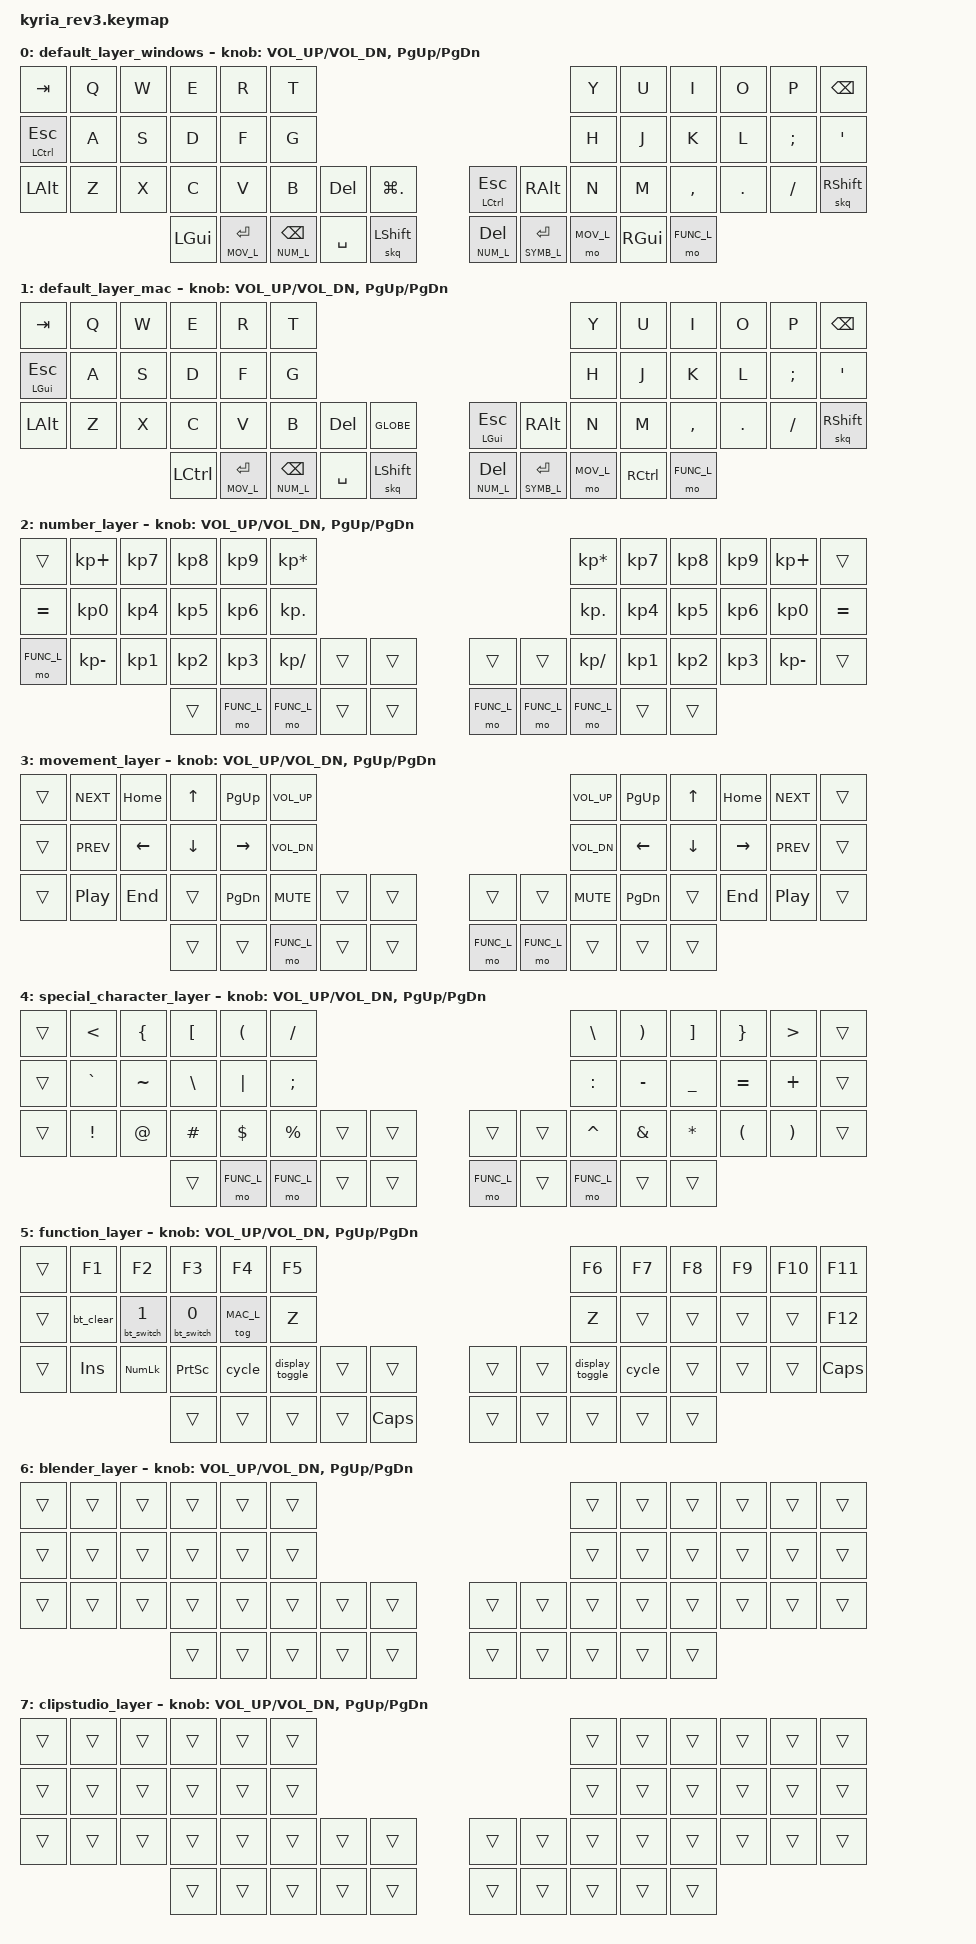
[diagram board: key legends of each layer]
/*
 * Copyright (c) 2023 The ZMK Contributors
 *
 * SPDX-License-Identifier: MIT
 */

#include <behaviors.dtsi>
#include <dt-bindings/zmk/bt.h>
#include <dt-bindings/zmk/keys.h>

/* Uncomment this block if using RGB
&led_strip {
    chain-length = <6>;
    // chain-length = <31>; // Uncomment if using both per-key and underglow LEDs
    // chain-length = <25>; // Uncomment if using only per-key LEDs.
};
 */

/* Layer indices — used by ZMK for &mo, &to, &tog bindings.
 *
 * To rename a layer on the OLED display:
 *   Edit LAYER_NAMES_LIST in display_module/src/display_config.h.
 *   The array index must match the number defined here.
 *   Max ~5 characters at the current font size before the label clips.
 *   NULL entries fall back to the raw number (e.g. "L:6").
 *   Push to GitHub — Actions rebuilds the firmware automatically.
 *
 * Runtime renaming from the keyboard is planned (see PLANNED.md).
 */
#define WINDOWS_L 0
#define MAC_L     1
#define NUM_L     2
#define MOV_L     3
#define SYMB_L    4
#define FUNC_L    5
#define BLNDR_L   6
#define CLPSTD_L  7

/ {
    behaviors {
        display_toggle: display_toggle {
            compatible = "zmk,behavior-display-toggle";
            #binding-cells = <0>;
        };

        cycle: cycle {
            compatible = "zmk,behavior-cycle";
            #binding-cells = <0>;
        };

        bt_switch: bt_switch {
            compatible = "zmk,behavior-bt-switch";
            #binding-cells = <1>;
            base-layers = <WINDOWS_L MAC_L>;
        };

        bt_clear: bt_clear {
            compatible = "zmk,behavior-bt-clear";
            #binding-cells = <0>;
        };

        skq: sticky_key_quick_release {
            compatible = "zmk,behavior-sticky-key";
            #binding-cells = <1>;
            bindings = <&kp>;
            release-after-ms = <1000>;
            quick-release;
            ignore-modifiers;
        };
    };

    keymap {
        compatible = "zmk,keymap";

        default_layer_windows {
            // ---------------------------------------------------------------------------------------------------------------------------------
            // |  TAB/NUM_L |  Q  |  W  |  E   |     R     |      T     |                                                         |   Y   |  U  |   I    |  O  |   P   |   BSPC    |
            // |  ESC/CTRL  |  A  |  S  |  D   |     F     |      G     |                                                         |   H   |  J  |   K    |  L  |  ; :  |    ' "    |
            // |     Alt    |  Z  |  X  |  C   |     V     |      B     |  DEL  |   WIN+.   |------------|  ESC/CTRL |    ALT     |   N   |  M  |   ,    |  .  |  / ?  |stickyShift|
            //                          |  OS  | Ret/MOV_L | BSPC/NUM_L | SPACE |stickySHIFT|------------| DEL/NUM_L | RET/SYMB_L | MOV_L |  OS | FUNC_L |
            bindings = <
            &kp TAB       &kp Q &kp W &kp E    &kp R          &kp T                                                                      &kp Y     &kp U    &kp I     &kp O    &kp P    &kp BSPC
            &mt LCTRL ESC &kp A &kp S &kp D    &kp F          &kp G                                                                      &kp H     &kp J    &kp K     &kp L    &kp SEMI &kp APOS
            &kp LALT      &kp Z &kp X &kp C    &kp V          &kp B          &kp DEL   &kp LG(PERIOD)       &mt LCTRL ESC &kp RALT       &kp N     &kp M    &kp COMMA &kp DOT  &kp FSLH &skq RSHIFT
                                      &kp LGUI &lt MOV_L RET  &lt NUM_L BSPC &kp SPACE &skq LSHIFT          &lt NUM_L DEL &lt SYMB_L RET &mo MOV_L &kp RGUI &mo FUNC_L 
            >;

            sensor-bindings = <&inc_dec_kp C_VOL_UP C_VOL_DN &inc_dec_kp PG_UP PG_DN>;
        };
        default_layer_mac {
            // ---------------------------------------------------------------------------------------------------------------------------------
            // |     TAB     |  Q  |  W  |    E    |     R     |      T     |                                                           |   Y   |  U   |    I   |  O  |   P   |   BSPC    |
            // | Esc/Command |  A  |  S  |    D    |     F     |      G     |                                                           |   H   |  J   |    K   |  L  |  ; :  |    ' "    |
            // | stickySHIFT |  Z  |  X  |    C    |     V     |      B     |  DEL  |   Globe   |------------| ESC/Command |  Option    |   N   |  M   |    ,   |  .  |  / ?  |stickyShift|
            //                           | Control | Ret/MOV_L | BSPC/NUM_L | SPACE |   L_NUM   |------------|  DEL/NUM_L  | RET/SYMB_L | MOV_L | Ctrl | FUNC_L |
            bindings = <
            &kp TAB      &kp Q &kp W &kp E    &kp R          &kp T                                                                        &kp Y     &kp U     &kp I     &kp O    &kp P    &kp BSPC
            &mt LGUI ESC &kp A &kp S &kp D    &kp F          &kp G                                                                        &kp H     &kp J     &kp K     &kp L    &kp SEMI &kp APOS
            &kp LALT     &kp Z &kp X &kp C    &kp V          &kp B          &kp DEL   &kp GLOBE              &mt LGUI ESC  &kp RALT       &kp N     &kp M     &kp COMMA &kp DOT  &kp FSLH &skq RSHIFT
                                     &kp LCTRL &lt MOV_L RET &lt NUM_L BSPC &kp SPACE &skq LSHIFT            &lt NUM_L DEL &lt SYMB_L RET &mo MOV_L &kp RCTRL &mo FUNC_L
            >;

            sensor-bindings = <&inc_dec_kp C_VOL_UP C_VOL_DN &inc_dec_kp PG_UP PG_DN>;
        };
        number_layer {
            // ---------------------------------------------------------------------------------------------------------------------------------
            // |     |  +  |  7  |  8  |    9   |   *    |                                     |   *    |  7  |  8  |  9  |  +  |     |
            // |  =  |  0  |  4  |  5  |    6   |   .    |                                     |   .    |  4  |  5  |  6  |  0  |  =  |
            // |     |  -  |  1  |  2  |    3   |   /    |     |      |------|        |        |   /    |  1  |  2  |  3  |  -  |     |
            //                   |     | FUNC_L | FUNC_L | RET |      |------| FUNC_L | FUNC_L | FUNC_L |     |     |
            bindings = <
            &trans    &kp KP_PLUS  &kp KP_N7 &kp KP_N8 &kp KP_N9 &kp KP_MULTIPLY                                             &kp KP_MULTIPLY &kp KP_N7 &kp KP_N8 &kp KP_N9 &kp KP_PLUS  &trans
            &kp EQUAL &kp KP_N0    &kp KP_N4 &kp KP_N5 &kp KP_N6 &kp KP_DOT                                                  &kp KP_DOT      &kp KP_N4 &kp KP_N5 &kp KP_N6 &kp KP_N0    &kp EQUAL
            &mo FUNC_L &kp KP_MINUS &kp KP_N1 &kp KP_N2 &kp KP_N3 &kp KP_DIVIDE &trans   &trans        &trans     &trans     &kp KP_DIVIDE   &kp KP_N1 &kp KP_N2 &kp KP_N3 &kp KP_MINUS &trans
                                             &trans    &mo FUNC_L &mo FUNC_L    &trans   &trans        &mo FUNC_L &mo FUNC_L &mo FUNC_L     &trans    &trans
            >;

            sensor-bindings = <&inc_dec_kp C_VOL_UP C_VOL_DN &inc_dec_kp PG_UP PG_DN>;
        };
        movement_layer {
            // ---------------------------------------------------------------------------------------------------------------------------------
            // |        |   ♪ NEXT   |  HOME  |   ↑   | PG UP | VOL + |                                       | VOL + | PG UP |   ↑   |  HOME |   ♪ NEXT   |      |
            // |        |   ♪ PREV   |    ←   |   ↓   |   →   | VOL - |                                       | VOL - |   ←   |   ↓   |   →   |   ♪ PREV   |      |
            // | FUNC_L | Play/Pause |  END   |       | PG DN |  MUTE |      |      |-------|        |        |  MUTE | PG DN |       |  END  | Play/Pause |      |
            //                                |       |       |       |      |      |-------| FUNC_L | FUNC_L |       |       |       |       | 
            bindings = <
            &trans     &kp C_NEXT        &kp HOME   &kp UP    &kp PG_UP  &kp C_VOL_UP                                                   &kp C_VOL_UP &kp PG_UP  &kp UP     &kp HOME   &kp C_NEXT        &trans
            &trans     &kp C_PREV        &kp LEFT   &kp DOWN  &kp RIGHT  &kp C_VOL_DN                                                   &kp C_VOL_DN &kp LEFT   &kp DOWN   &kp RIGHT  &kp C_PREV        &trans
            &trans     &kp C_PLAY_PAUSE  &kp END    &trans    &kp PG_DN  &kp C_MUTE     &trans &trans             &trans     &trans     &kp C_MUTE   &kp PG_DN  &trans     &kp END    &kp C_PLAY_PAUSE  &trans
                                                    &trans    &trans     &mo FUNC_L     &trans &trans             &mo FUNC_L &mo FUNC_L &trans       &trans     &trans 
            >;

            sensor-bindings = <&inc_dec_kp C_VOL_UP C_VOL_DN &inc_dec_kp PG_UP PG_DN>;
        };
        special_character_layer {
            // ---------------------------------------------------------------------------------------------------------------------------------
            // |      |  <   |  {   |  [   |    (   |   /    |                                         |  \   |  )   |  ]   |  }   |  >   |      |
            // |      |  `   |  ~   |  \   |    |   |   ;    |                                         |  :   |  -   |  _   |  =   |  +   |      |
            // |      |  !   |  @   |  #   |    $   |   %    |      |      |---|        |      |        |  ^   |  &   |  *   |  (   |  )   |      |
            //                      |      | FUNC_L | FUNC_L |      |      |---| FUNC_L |      | FUNC_L |      |      |      |
            bindings = <
            &trans  &kp LT    &kp LBRC  &kp LBKT &kp LPAR  &kp FSLH                                           &kp BSLH  &kp RPAR  &kp RBKT  &kp RBRC  &kp GT   &trans
            &trans  &kp GRAVE &kp TILDE &kp BSLH &kp PIPE  &kp SEMI                                           &kp COLON &kp MINUS &kp UNDER &kp EQUAL &kp PLUS &trans
            &trans  &kp EXCL  &kp AT    &kp HASH &kp DLLR   &kp PRCNT  &trans &trans        &trans     &trans &kp CARET &kp AMPS  &kp ASTRK &kp LPAR  &kp RPAR &trans
                                        &trans   &mo FUNC_L &mo FUNC_L &trans &trans        &mo FUNC_L &trans &mo FUNC_L &trans    &trans
            >;

            sensor-bindings = <&inc_dec_kp C_VOL_UP C_VOL_DN &inc_dec_kp PG_UP PG_DN>;
        };
        
        function_layer {
            // ---------------------------------------------------------------------------------------------------------------------------------
            // |       |  F1  |   F2   |   F3   |    F4   |   F5   |                                                 |  F6  |   F7    |  F8  |   F9  | F10  | F11  |
            // |       |bt_clr| BT_PRV | BT_NXT | MAC_TOG |   Z    |                                                 |  Z   |         |      |       |      | F12  | (bt_clear/bt_switch: disconnect all hosts + restore saved OS layer)
            // |       |INSERT| NUMLCK | PSCRN  | D_cycle |  DISP  |      |      |                    |      |       | DISP | D_cycle |      |       |      | CAPS |
            //                         |        |         |        |      | CAPS |                    |      |       |      |         |      |
            bindings = <
            &trans &kp F1     &kp F2      &kp F3      &kp F4      &kp F5                                                       &kp F6           &kp F7      &kp F8 &kp F9 &kp F10  &kp F11
            &trans &bt_clear  &bt_switch 1  &bt_switch 0  &tog MAC_L  &kp Z                                                        &kp Z            &trans      &trans &trans &trans   &kp F12
            &trans &kp INSERT &kp KP_NUM  &kp PSCRN   &cycle      &display_toggle &trans &trans               &trans   &trans  &display_toggle  &cycle      &trans &trans &trans   &kp CAPS 
                                          &trans      &trans      &trans          &trans &kp CAPS             &trans   &trans  &trans           &trans      &trans
            >;

            sensor-bindings = <&inc_dec_kp C_VOL_UP C_VOL_DN &inc_dec_kp PG_UP PG_DN>;
        };
        blender_layer {
            // ---------------------------------------------------------------------------------------------------------------------------------
            // |       |       |       |       |       |       |                                                    |       |       |       |       |       |       |
            // |       |       |       |       |       |       |                                                    |       |       |       |       |       |       |
            // |       |       |       |       |       |       |       |       |--------------------|       |       |       |       |       |       |       |       |
            //                         |       |       |       |       |       |--------------------|       |       |       |       |       |       |
            bindings = <
            &trans &trans &trans &trans &trans &trans                                                             &trans &trans &trans &trans &trans &trans
            &trans &trans &trans &trans &trans &trans                                                             &trans &trans &trans &trans &trans &trans
            &trans &trans &trans &trans &trans &trans &trans &trans                                 &trans &trans &trans &trans &trans &trans &trans &trans
                                 &trans &trans &trans &trans &trans                                 &trans &trans &trans &trans &trans
            >;

            sensor-bindings = <&inc_dec_kp C_VOL_UP C_VOL_DN &inc_dec_kp PG_UP PG_DN>;
        };
        clipstudio_layer {
            // ---------------------------------------------------------------------------------------------------------------------------------
            // |       |       |       |       |       |       |                                                    |       |       |       |       |       |       |
            // |       |       |       |       |       |       |                                                    |       |       |       |       |       |       |
            // |       |       |       |       |       |       |       |       |--------------------|       |       |       |       |       |       |       |       |
            //                         |       |       |       |       |       |--------------------|       |       |       |       |       |       |
            bindings = <
            &trans &trans &trans &trans &trans &trans                                                             &trans &trans &trans &trans &trans &trans
            &trans &trans &trans &trans &trans &trans                                                             &trans &trans &trans &trans &trans &trans
            &trans &trans &trans &trans &trans &trans &trans &trans                                 &trans &trans &trans &trans &trans &trans &trans &trans
                                 &trans &trans &trans &trans &trans                                 &trans &trans &trans &trans &trans
            >;

            sensor-bindings = <&inc_dec_kp C_VOL_UP C_VOL_DN &inc_dec_kp PG_UP PG_DN>;
        };

    };
};
